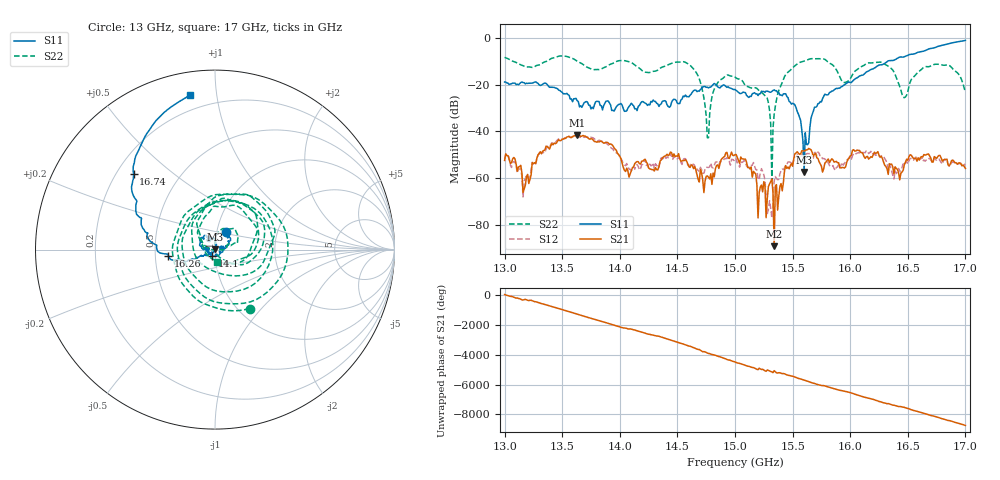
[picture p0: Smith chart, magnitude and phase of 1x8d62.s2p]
!Keysight Technologies,P9374A,MY57211807,A.19.30.04
!Date: Friday, May 08, 2026 15:22:36
!Correction: S11(C  2-Port  )
!S21(C  2-Port  )
!S12(C  2-Port  )
!S22(C  2-Port  )
!S2P File: Measurements: S11, S21, S12, S22:
# Hz S  dB  R 50
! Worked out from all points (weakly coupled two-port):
!   401 points, 13 GHz to 17 GHz, reference 50 ohm
!   highest |S21| = -41.52 dB at 13.63 GHz (marker M1); lowest = -89.0 dB at 15.34 GHz (marker M2)
!   lowest |S11| = -57.3 dB at 15.6 GHz (marker M3), VSWR 1.00, Z = 49.9 + j0.0885 ohm
!   |S11| at or under -10 dB: start of sweep to 16.33 GHz
!   |S22| runs from -61.2 to -7.8 dB; largest |S21 - S12| = 0.0014
!   S11 on the Smith chart (normalised r, x): 13 GHz: 1.11, +0.22; 14.1 GHz: 0.97, -0.07; 16.26 GHz: 0.59, -0.04; 16.74 GHz: 0.27, +0.37; 17 GHz: 0.12, +0.85
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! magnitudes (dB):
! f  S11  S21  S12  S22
! 13 GHz  -18.9  -52.4  -51.8  -8.4
! 13.18 GHz  -19.7  -63.0  -60.2  -12.4
! 13.63 GHz  -26.9  -41.5  -42.1  -10.0
! 13.67 GHz  -29.7  -42.0  -42.5  -11.1
! 14.1 GHz  -28.0  -56.8  -56.7  -10.7
! 14.34 GHz  -29.3  -55.0  -55.6  -13.4
! 14.63 GHz  -23.3  -54.5  -53.8  -12.8
! 14.76 GHz  -21.1  -59.0  -55.3  -42.7
! 14.84 GHz  -20.2  -54.6  -53.0  -20.0
! 15 GHz  -22.1  -49.9  -51.4  -16.8
! 15.24 GHz  -23.0  -65.8  -57.1  -23.7
! 15.3 GHz  -23.2  -62.4  -69.6  -31.1
! 15.34 GHz  -22.3  -89.0  -61.1  -32.7
! 15.42 GHz  -24.0  -61.9  -56.3  -17.8
! 15.6 GHz  -57.3  -48.4  -50.2  -10.0
! 15.67 GHz  -32.7  -49.0  -50.2  -8.9
! 15.95 GHz  -20.1  -55.6  -53.6  -19.1
! 16.26 GHz  -11.6  -51.0  -51.1  -10.4
! 16.34 GHz  -9.8  -53.8  -53.8  -12.5
! 16.47 GHz  -8.1  -54.1  -54.4  -25.6
! 16.74 GHz  -4.2  -51.2  -52.0  -11.3
! 17 GHz  -1.2  -55.8  -54.5  -23.3
